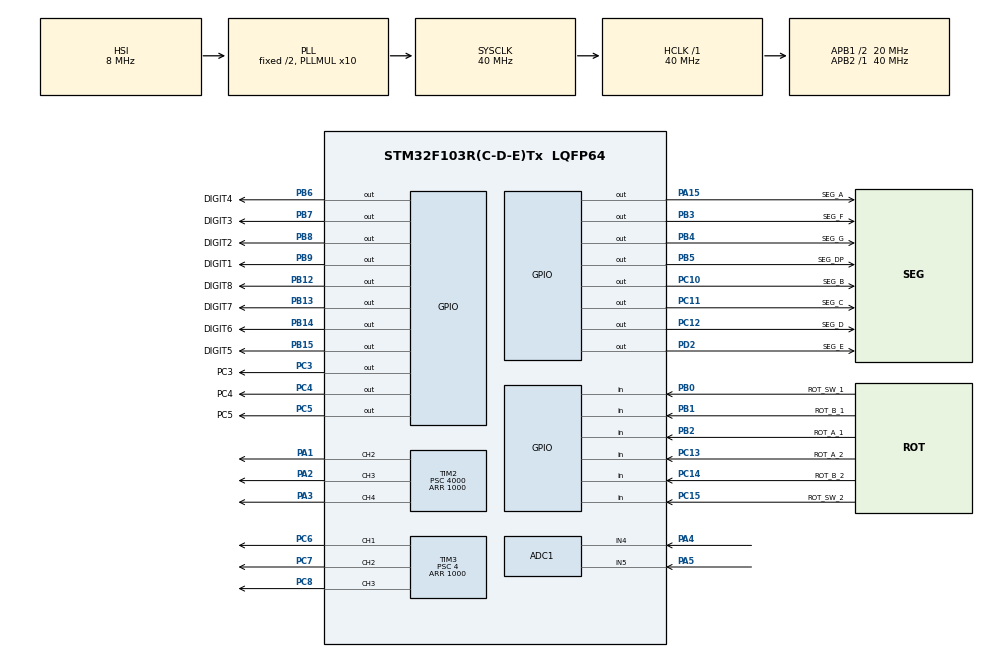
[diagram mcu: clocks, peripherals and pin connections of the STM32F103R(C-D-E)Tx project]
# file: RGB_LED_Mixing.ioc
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ADC1.Channel-0\#ChannelRegularConversion=ADC_CHANNEL_4
ADC1.NbrOfConversionFlag=1
ADC1.Rank-0\#ChannelRegularConversion=1
ADC1.SamplingTime-0\#ChannelRegularConversion=ADC_SAMPLETIME_1CYCLE_5
ADC1.master=1
Mcu.Family=STM32F1
Mcu.Name=STM32F103R(C-D-E)Tx
Mcu.Package=LQFP64
NVIC.PriorityGroup=NVIC_PRIORITYGROUP_4
PA1.Signal=S_TIM2_CH2
PA15.GPIO_Label=SEG_A
PA15.PinState=GPIO_PIN_SET
PA15.Signal=GPIO_Output
PA2.Signal=S_TIM2_CH3
PA3.Signal=S_TIM2_CH4
PA4.Signal=ADCx_IN4
PA5.Signal=ADCx_IN5
PB0.GPIO_Label=ROT_SW_1
PB0.GPIO_PuPd=GPIO_PULLUP
PB0.Signal=GPIO_Input
PB1.GPIO_Label=ROT_B_1
PB1.GPIO_PuPd=GPIO_PULLUP
PB1.Signal=GPIO_Input
PB12.GPIO_Label=DIGIT8
PB12.GPIO_PuPd=GPIO_PULLDOWN
PB12.PinState=GPIO_PIN_SET
PB12.Signal=GPIO_Output
PB13.GPIO_Label=DIGIT7
PB13.GPIO_PuPd=GPIO_PULLDOWN
PB13.PinState=GPIO_PIN_SET
PB13.Signal=GPIO_Output
PB14.GPIO_Label=DIGIT6
PB14.GPIO_PuPd=GPIO_PULLDOWN
PB14.PinState=GPIO_PIN_SET
PB14.Signal=GPIO_Output
PB15.GPIO_Label=DIGIT5
PB15.GPIO_PuPd=GPIO_PULLDOWN
PB15.PinState=GPIO_PIN_SET
PB15.Signal=GPIO_Output
PB2.GPIO_Label=ROT_A_1
PB2.GPIO_PuPd=GPIO_PULLUP
PB2.Signal=GPIO_Input
PB3.GPIO_Label=SEG_F
PB3.PinState=GPIO_PIN_SET
PB3.Signal=GPIO_Output
PB4.GPIO_Label=SEG_G
PB4.PinState=GPIO_PIN_SET
PB4.Signal=GPIO_Output
PB5.GPIO_Label=SEG_DP
PB5.PinState=GPIO_PIN_SET
PB5.Signal=GPIO_Output
PB6.GPIO_Label=DIGIT4
PB6.GPIO_PuPd=GPIO_PULLDOWN
PB6.PinState=GPIO_PIN_SET
PB6.Signal=GPIO_Output
PB7.GPIO_Label=DIGIT3
PB7.GPIO_PuPd=GPIO_PULLDOWN
PB7.PinState=GPIO_PIN_SET
PB7.Signal=GPIO_Output
PB8.GPIO_Label=DIGIT2
PB8.GPIO_PuPd=GPIO_PULLDOWN
PB8.PinState=GPIO_PIN_SET
PB8.Signal=GPIO_Output
PB9.GPIO_Label=DIGIT1
PB9.GPIO_PuPd=GPIO_PULLDOWN
PB9.PinState=GPIO_PIN_SET
PB9.Signal=GPIO_Output
PC10.GPIO_Label=SEG_B
PC10.GPIO_PuPd=GPIO_NOPULL
PC10.PinState=GPIO_PIN_SET
PC10.Signal=GPIO_Output
PC11.GPIO_Label=SEG_C
PC11.PinState=GPIO_PIN_SET
PC11.Signal=GPIO_Output
PC12.GPIO_Label=SEG_D
PC12.PinState=GPIO_PIN_SET
PC12.Signal=GPIO_Output
PC13-TAMPER-RTC.GPIO_Label=ROT_A_2
PC13-TAMPER-RTC.GPIO_PuPd=GPIO_PULLUP
PC13-TAMPER-RTC.Signal=GPIO_Input
PC14-OSC32_IN.GPIO_Label=ROT_B_2
PC14-OSC32_IN.GPIO_PuPd=GPIO_PULLUP
PC14-OSC32_IN.Signal=GPIO_Input
PC15-OSC32_OUT.GPIO_Label=ROT_SW_2
PC15-OSC32_OUT.GPIO_PuPd=GPIO_PULLUP
PC15-OSC32_OUT.Signal=GPIO_Input
PC3.GPIO_Label=PC3
PC3.PinState=GPIO_PIN_SET
PC3.Signal=GPIO_Output
PC4.GPIO_Label=PC4
PC4.PinState=GPIO_PIN_SET
PC4.Signal=GPIO_Output
PC5.GPIO_Label=PC5
PC5.PinState=GPIO_PIN_SET
PC5.Signal=GPIO_Output
PC6.Signal=S_TIM3_CH1
PC7.Signal=S_TIM3_CH2
PC8.Signal=S_TIM3_CH3
PD0-OSC_IN.Mode=HSE-External-Oscillator
PD0-OSC_IN.Signal=RCC_OSC_IN
PD1-OSC_OUT.Mode=HSE-External-Oscillator
PD1-OSC_OUT.Signal=RCC_OSC_OUT
PD2.GPIO_Label=SEG_E
PD2.PinState=GPIO_PIN_SET
PD2.Signal=GPIO_Output
ProjectManager.HeapSize=0x200
ProjectManager.StackSize=0x400
ProjectManager.TargetToolchain=STM32CubeIDE
RCC.ADCPresc=RCC_ADCPCLK2_DIV4
RCC.AHBFreq_Value=40000000
RCC.APB1CLKDivider=RCC_HCLK_DIV2
RCC.APB1Freq_Value=20000000
RCC.APB1TimFreq_Value=40000000
RCC.APB2Freq_Value=40000000
RCC.APB2TimFreq_Value=40000000
RCC.HCLKFreq_Value=40000000
RCC.HSE_VALUE=4000000
RCC.PLLMUL=RCC_PLL_MUL10
RCC.SYSCLKFreq_VALUE=40000000
RCC.SYSCLKSource=RCC_SYSCLKSOURCE_PLLCLK
RCC.USBFreq_Value=40000000
SH.ADCx_IN4.0=ADC1_IN4,IN4
SH.ADCx_IN5.0=ADC1_IN5,IN5
SH.S_TIM2_CH2.0=TIM2_CH2,PWM Generation2 CH2
SH.S_TIM2_CH3.0=TIM2_CH3,PWM Generation3 CH3
SH.S_TIM2_CH4.0=TIM2_CH4,PWM Generation4 CH4
SH.S_TIM3_CH1.0=TIM3_CH1,PWM Generation1 CH1
SH.S_TIM3_CH2.0=TIM3_CH2,PWM Generation2 CH2
SH.S_TIM3_CH3.0=TIM3_CH3,PWM Generation3 CH3
TIM2.Channel-PWM\ Generation2\ CH2=TIM_CHANNEL_2
TIM2.Channel-PWM\ Generation3\ CH3=TIM_CHANNEL_3
TIM2.Channel-PWM\ Generation4\ CH4=TIM_CHANNEL_4
TIM2.OCFastMode_PWM-PWM\ Generation3\ CH3=TIM_OCFAST_DISABLE
TIM2.OCFastMode_PWM-PWM\ Generation4\ CH4=TIM_OCFAST_DISABLE
TIM2.OCMode_PWM-PWM\ Generation2\ CH2=TIM_OCMODE_PWM1
TIM2.OCPolarity_2=TIM_OCPOLARITY_HIGH
TIM2.OCPolarity_3=TIM_OCPOLARITY_HIGH
TIM2.Period=1000
TIM2.Prescaler=4000
TIM2.Pulse-PWM\ Generation2\ CH2=20
TIM2.Pulse-PWM\ Generation3\ CH3=0
TIM2.Pulse-PWM\ Generation4\ CH4=0
TIM3.Channel-PWM\ Generation1\ CH1=TIM_CHANNEL_1
TIM3.Channel-PWM\ Generation2\ CH2=TIM_CHANNEL_2
TIM3.Channel-PWM\ Generation3\ CH3=TIM_CHANNEL_3
TIM3.OCMode_PWM-PWM\ Generation1\ CH1=TIM_OCMODE_PWM1
TIM3.OCMode_PWM-PWM\ Generation3\ CH3=TIM_OCMODE_PWM1
TIM3.OCPolarity_2=TIM_OCPOLARITY_HIGH
TIM3.Period=1000
TIM3.Prescaler=4
TIM3.Pulse-PWM\ Generation1\ CH1=20
TIM3.Pulse-PWM\ Generation2\ CH2=20
TIM3.Pulse-PWM\ Generation3\ CH3=20
TIM3.TIM_MasterSlaveMode=TIM_MASTERSLAVEMODE_DISABLE
VP_SYS_VS_ND.Mode=No_Debug
VP_TIM2_VS_ClockSourceINT.Mode=Internal
VP_TIM3_VS_ClockSourceINT.Mode=Internal
board=custom

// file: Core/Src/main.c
/* USER CODE BEGIN Header */
/**
 ******************************************************************************
 * @file           : main.c
 * @brief          : Main program body
 ******************************************************************************
 * @attention
 *
 * <h2><center>&copy; Copyright (c) 2021 STMicroelectronics.
 * All rights reserved.</center></h2>
 *
 * This software component is licensed by ST under BSD 3-Clause license,
 * the "License"; You may not use this file except in compliance with the
 * License. You may obtain a copy of the License at:
 *                        opensource.org/licenses/BSD-3-Clause
 *
 ******************************************************************************
 */

// This Function Provides Delay In Milliseconds Using DWT

/* USER CODE END Header */
#include "main.h"

/* USER CODE BEGIN PTD */
enum{tachefond,blue,green,red,freq};

enum{blanc,bleu,vert,rouge,violet, jaune, cyan,};

/* USER CODE END PTD */

/* USER CODE BEGIN PD */
#define GAUCHE 0
#define DROITE 1
/* USER CODE END PD */

ADC_HandleTypeDef hadc1;

TIM_HandleTypeDef htim2;
TIM_HandleTypeDef htim3;

void SystemClock_Config(void);
static void MX_GPIO_Init(void);
static void MX_ADC1_Init(void);
static void MX_TIM2_Init(void);
static void MX_TIM3_Init(void);

/* USER CODE BEGIN 0 */
/*
 *  Project     Segmented LED Display - ASCII Library
 *  @author     David Madison
 *  @link       github.com/dmadison/Segmented-LED-Display-ASCII
 *  @license    MIT - Copyright (c) 2017 David Madison
 *
 * Permission is hereby granted, free of charge, to any person obtaining a copy
 * of this software and associated documentation files (the "Software"), to deal
 * in the Software without restriction, including without limitation the rights
 * to use, copy, modify, merge, publish, distribute, sublicense, and/or sell
 * copies of the Software, and to permit persons to whom the Software is
 * furnished to do so, subject to the following conditions:
 *
 * The above copyright notice and this permission notice shall be included in
 * all copies or substantial portions of the Software.
 *
 * THE SOFTWARE IS PROVIDED "AS IS", WITHOUT WARRANTY OF ANY KIND, EXPRESS OR
 * IMPLIED, INCLUDING BUT NOT LIMITED TO THE WARRANTIES OF MERCHANTABILITY,
 * FITNESS FOR A PARTICULAR PURPOSE AND NONINFRINGEMENT. IN NO EVENT SHALL THE
 * AUTHORS OR COPYRIGHT HOLDERS BE LIABLE FOR ANY CLAIM, DAMAGES OR OTHER
 * LIABILITY, WHETHER IN AN ACTION OF CONTRACT, TORT OR OTHERWISE, ARISING FROM,
 * OUT OF OR IN CONNECTION WITH THE SOFTWARE OR THE USE OR OTHER DEALINGS IN
 * THE SOFTWARE.
 *
 */

const uint8_t SevenSegmentASCII[96] = {
		0x00, /* (space) */
		0x86, /* ! */
		0x22, /* " */
		0x7E, /* # */
		0x6D, /* $ */
		0xD2, /* % */
		0x46, /* & */
		0x20, /* ' */
		0x29, /* ( */
		0x0B, /* ) */
		0x21, /* * */
		0x70, /* + */
		0x10, /* , */
		0x40, /* - */
		0x80, /* . */
		0x52, /* / */
		0x3F, /* 0 */
		0x06, /* 1 */
		0x5B, /* 2 */
		0x4F, /* 3 */
		0x66, /* 4 */
		0x6D, /* 5 */
		0x7D, /* 6 */
		0x07, /* 7 */
		0x7F, /* 8 */
		0x6F, /* 9 */
		0x09, /* : */
		0x0D, /* ; */
		0x61, /* < */
		0x48, /* = */
		0x43, /* > */
		0xD3, /* ? */
		0x5F, /* @ */
		0x77, /* A */
		0x7C, /* B */
		0x39, /* C */
		0x5E, /* D */
		0x79, /* E */
		0x71, /* F */
		0x3D, /* G */
		0x76, /* H */
		0x30, /* I */
		0x1E, /* J */
		0x75, /* K */
		0x38, /* L */
		0x15, /* M */
		0x37, /* N */
		0x3F, /* O */
		0x73, /* P */
		0x6B, /* Q */
		0x33, /* R */
		0x6D, /* S */
		0x78, /* T */
		0x3E, /* U */
		0x3E, /* V */
		0x2A, /* W */
		0x76, /* X */
		0x6E, /* Y */
		0x5B, /* Z */
		0x39, /* [ */
		0x64, /* \ */
		0x0F, /* ] */
		0x23, /* ^ */
		0x08, /* _ */
		0x02, /* ` */
		0x5F, /* a */
		0x7C, /* b */
		0x58, /* c */
		0x5E, /* d */
		0x7B, /* e */
		0x71, /* f */
		0x6F, /* g */
		0x74, /* h */
		0x10, /* i */
		0x0C, /* j */
		0x75, /* k */
		0x30, /* l */
		0x14, /* m */
		0x54, /* n */
		0x5C, /* o */
		0x73, /* p */
		0x67, /* q */
		0x50, /* r */
		0x6D, /* s */
		0x78, /* t */
		0x1C, /* u */
		0x1C, /* v */
		0x14, /* w */
		0x76, /* x */
		0x6E, /* y */
		0x5B, /* z */
		0x46, /* { */
		0x30, /* | */
		0x70, /* } */
		0x01, /* ~ */
		0x00, /* (del) */
};

void all_on_SEG(void)
{
	HAL_GPIO_WritePin(SEG_A_GPIO_Port, SEG_A_Pin, GPIO_PIN_SET);
	HAL_GPIO_WritePin(SEG_B_GPIO_Port, SEG_B_Pin, GPIO_PIN_SET);
	HAL_GPIO_WritePin(SEG_C_GPIO_Port, SEG_C_Pin, GPIO_PIN_SET);
	HAL_GPIO_WritePin(SEG_D_GPIO_Port, SEG_D_Pin, GPIO_PIN_SET);
	HAL_GPIO_WritePin(SEG_E_GPIO_Port, SEG_E_Pin, GPIO_PIN_SET);
	HAL_GPIO_WritePin(SEG_F_GPIO_Port, SEG_F_Pin, GPIO_PIN_SET);
	HAL_GPIO_WritePin(SEG_G_GPIO_Port, SEG_G_Pin, GPIO_PIN_SET);
	HAL_GPIO_WritePin(SEG_DP_GPIO_Port, SEG_DP_Pin, GPIO_PIN_SET);

	HAL_GPIO_WritePin(DIGIT1_GPIO_Port, DIGIT1_Pin, GPIO_PIN_SET);
	HAL_GPIO_WritePin(DIGIT2_GPIO_Port, DIGIT2_Pin, GPIO_PIN_SET);
	HAL_GPIO_WritePin(DIGIT3_GPIO_Port, DIGIT3_Pin, GPIO_PIN_SET);
	HAL_GPIO_WritePin(DIGIT4_GPIO_Port, DIGIT4_Pin, GPIO_PIN_SET);
	HAL_GPIO_WritePin(DIGIT5_GPIO_Port, DIGIT5_Pin, GPIO_PIN_SET);
	HAL_GPIO_WritePin(DIGIT6_GPIO_Port, DIGIT6_Pin, GPIO_PIN_SET);
	HAL_GPIO_WritePin(DIGIT7_GPIO_Port, DIGIT7_Pin, GPIO_PIN_SET);
	HAL_GPIO_WritePin(DIGIT8_GPIO_Port, DIGIT8_Pin, GPIO_PIN_SET);
}

void delay(int i)
{
	for(int j=0;j<i;i++)
	{

	}
}

void initSEG(void)
{
	uint16_t pinportA = SEG_A_Pin;
	uint16_t pinportC = SEG_B_Pin|SEG_C_Pin|SEG_D_Pin;
	uint16_t pinportB = SEG_F_Pin|SEG_G_Pin|SEG_DP_Pin|DIGIT1_Pin|DIGIT2_Pin|DIGIT3_Pin|DIGIT4_Pin|DIGIT5_Pin|DIGIT6_Pin|DIGIT7_Pin|DIGIT8_Pin;
	uint16_t pinportD = SEG_E_Pin;

	HAL_GPIO_WritePin(SEG_A_GPIO_Port, pinportA, GPIO_PIN_RESET);

	HAL_GPIO_WritePin(SEG_B_GPIO_Port,pinportC , GPIO_PIN_RESET);

	HAL_GPIO_WritePin(SEG_E_GPIO_Port, pinportD, GPIO_PIN_RESET);

	HAL_GPIO_WritePin(SEG_F_GPIO_Port,pinportB , GPIO_PIN_RESET);

}

void uprintchar(int shiftseg1,int shiftseg2,int shiftseg3,int shiftseg4,int shiftseg5,int shiftseg6,int shiftseg7,int shiftseg8,uint16_t Pin)
{

	uint16_t pinsegBCD=(SEG_B_Pin&(shiftseg2<<9))|(SEG_C_Pin&shiftseg3<<9)|(SEG_D_Pin&shiftseg4<<9);
	uint16_t pinsegFGDPdig=(SEG_F_Pin&(shiftseg6>>2))|(SEG_G_Pin&shiftseg7>>2)|(SEG_DP_Pin&shiftseg8>>2)|Pin;
	uint16_t pinsegA=(SEG_A_Pin&(shiftseg1<<15));
	uint16_t pinsegE=(SEG_E_Pin&(shiftseg5>>2));
	initSEG();
	GPIOC->ODR = pinsegBCD;
	GPIOA->ODR = pinsegA;
	GPIOD->ODR = pinsegE;
	GPIOB->ODR = pinsegFGDPdig;
}

void printchar(int chara,uint16_t Pin)
{
	int segmA =(0x01&(SevenSegmentASCII[chara-32]));
	int segmB =(0x02&(SevenSegmentASCII[chara-32]))>>1;
	int segmC =(0x04&(SevenSegmentASCII[chara-32]))>>2;
	int segmD =(0x08&(SevenSegmentASCII[chara-32]))>>3;
	int segmE =(0x10&(SevenSegmentASCII[chara-32]))>>4;
	int segmF =(0x20&(SevenSegmentASCII[chara-32]))>>5;
	int segmG =(0x40&(SevenSegmentASCII[chara-32]))>>6;
	int segmDP =(0x80&(SevenSegmentASCII[chara-32]))>>7;
	/*uint16_t pinsegBCD=((SEG_B_Pin&(segmB<<9))|(SEG_C_Pin&segmC<<9)|(SEG_D_Pin&segmD<<9))&0xFFFF;
	uint16_t pinsegFGDPdig=((SEG_F_Pin&(segmF>>2))|(SEG_G_Pin&segmG>>2)|(SEG_DP_Pin&segmDP>>2)|Pin)&0xFFFF;
	uint16_t pinsegA=(SEG_A_Pin&(segmA<<15))&0xFFFF;
	uint16_t pinsegE=(SEG_E_Pin&(segmE>>2))&0xFFFF;
	initSEG();
	GPIOC->ODR = GPIOC->ODR&pinsegBCD;
	GPIOA->ODR = GPIOA->ODR&pinsegA;
	GPIOD->ODR = GPIOD->ODR&pinsegE;
	GPIOB->ODR = GPIOB->ODR&pinsegFGDPdig;
	 */
	initSEG();
	HAL_GPIO_WritePin(SEG_A_GPIO_Port, SEG_A_Pin, segmA);
	HAL_GPIO_WritePin(SEG_B_GPIO_Port, SEG_B_Pin, segmB);
	HAL_GPIO_WritePin(SEG_C_GPIO_Port, SEG_C_Pin, segmC);
	HAL_GPIO_WritePin(SEG_D_GPIO_Port, SEG_D_Pin, segmD);
	HAL_GPIO_WritePin(SEG_E_GPIO_Port, SEG_E_Pin, segmE);
	HAL_GPIO_WritePin(SEG_F_GPIO_Port, SEG_F_Pin, segmF);
	HAL_GPIO_WritePin(SEG_G_GPIO_Port, SEG_G_Pin, segmG);
	HAL_GPIO_WritePin(SEG_DP_GPIO_Port, SEG_DP_Pin, segmDP);
	HAL_GPIO_WritePin(DIGIT1_GPIO_Port, Pin, GPIO_PIN_SET);
}

void printFigures(int number,uint16_t Pin, int leading_zero)
{
	printchar(number+48,Pin);

	if(!leading_zero)
	{
		if(number==0)
		{
			HAL_GPIO_WritePin(GPIOB, Pin, GPIO_PIN_RESET);
		}
	}
}

void affichageDig(int position_compteur,int delai,int position, int limpos,int limneg)
{
	static int check=0;
	static int i;
	int digit[4];
	int pos=position*6;
	if (check!=position)
			i--;
	switch (i){

	case 0:
	{
		if(position_compteur==limpos+1)
			position_compteur=0;

		if(position_compteur<0)
		{
			printchar('-', DIGIT1_Pin);
			if(position_compteur==-(limneg+1))
				position_compteur=0;
		}
		digit[0]=abs(position_compteur)%10;
		digit[1]=((abs(position_compteur)-digit[0])/10)%10;
		digit[2]=((abs(position_compteur)-digit[1]*10-digit[0])/100)%10;
		digit[3]=((abs(position_compteur)-digit[2]*100-digit[0]-digit[1]*10)/1000)%10;
		printFigures(digit[0], DIGIT4_Pin<<pos,1);
		HAL_Delay(delai);
		break;
	}
	case 1:
	{
		if(position_compteur==limpos+1)
			position_compteur=0;

		if(position_compteur<0)
		{
			printchar('-', DIGIT1_Pin);
			if(position_compteur==-(limneg+1))
				position_compteur=0;
		}
		digit[0]=abs(position_compteur)%10;
		digit[1]=((abs(position_compteur)-digit[0])/10)%10;
		digit[2]=((abs(position_compteur)-digit[1]*10-digit[0])/100)%10;
		digit[3]=((abs(position_compteur)-digit[2]*100-digit[0]-digit[1]*10)/1000)%10;
		printFigures(digit[1], DIGIT3_Pin<<pos,1);
		HAL_Delay(delai);
		break;
	}
	case 2:
	{
		if(position_compteur==limpos+1)
			position_compteur=0;

		if(position_compteur<0)
		{
			printchar('-', DIGIT1_Pin);
			if(position_compteur==-(limneg+1))
				position_compteur=0;
		}
		digit[0]=abs(position_compteur)%10;
		digit[1]=((abs(position_compteur)-digit[0])/10)%10;
		digit[2]=((abs(position_compteur)-digit[1]*10-digit[0])/100)%10;
		digit[3]=((abs(position_compteur)-digit[2]*100-digit[0]-digit[1]*10)/1000)%10;
		printFigures(digit[2], DIGIT2_Pin<<pos, 1);
		HAL_Delay(delai);
		break;
	}
	case 3:
	{
		if(position_compteur==limpos+1)
			position_compteur=0;

		if(position_compteur<0)
		{
			printchar('-', DIGIT1_Pin);
			if(position_compteur==-(limneg+1))
				position_compteur=0;
		}
		else
		{
			digit[0]=abs(position_compteur)%10;
			digit[1]=((abs(position_compteur)-digit[0])/10)%10;
			digit[2]=((abs(position_compteur)-digit[1]*10-digit[0])/100)%10;
			digit[3]=((abs(position_compteur)-digit[2]*100-digit[0]-digit[1]*10)/1000)%10;
			printFigures(digit[3], DIGIT1_Pin<<pos, 1);
		}
		i=-1;
		if (check==position)
				i=3;
		HAL_Delay(delai);
		break;
	}
	}
	i++;
}
void affichageChar(char * word,int delai, int position)
{
	static int i=0;
	int pos=position*6;
	switch (i){

	case 0:
	{
		printchar(word[i],DIGIT1_Pin<<pos);
		HAL_Delay(delai);
	}
	break;
	case 1:
	{
		printchar(word[i],DIGIT2_Pin<<pos);
		HAL_Delay(delai);
	}
	break;
	case 2:
	{
		printchar(word[i],DIGIT3_Pin<<pos);
		HAL_Delay(delai);
	}
	break;
	case 3:
	{
		printchar(word[i],DIGIT4_Pin<<pos);
		HAL_Delay(delai);
		i=-1;
	}
	break;
	}
	i++;
}
/*
void incremental(int switchport1, int switchport2,int switchpin1,int switchpin2,int parameter, int limneg,int limpositive)
{
	static int lastState1=0;
	lastState1=HAL_GPIO_ReadPin(switchport1, switchpin1);
	static int etatsw=0;
	HAL_Delay(1);
	if(HAL_GPIO_ReadPin(switchport1, switchpin1)!=lastState1)
	{
		if(HAL_GPIO_ReadPin(switchport1, switchpin1)!=HAL_GPIO_ReadPin(switchport2, switchpin2))
		{
			etatsw=2;
			while(etatsw==2)
			{
				lastState1=HAL_GPIO_ReadPin(switchport1, switchpin1);
				HAL_Delay(1);
				if (parameter<=limneg)
					parameter=limneg;
				else
				{
					parameter--;
				}
				if(HAL_GPIO_ReadPin(switchport1, switchpin1)==lastState1)
					etatsw=0;
				if(HAL_GPIO_ReadPin(switchport1, switchpin1)==HAL_GPIO_ReadPin(switchport2, switchpin2))
					etatsw=1;
			}
		}
		else
		{
			etatsw=1;
			while(etatsw==1)
			{
				lastState1=HAL_GPIO_ReadPin(switchport1, switchpin1);
				HAL_Delay(1);
				if (parameter>=limpositive)
					parameter=limpositive;
				else
				{
					parameter++;
				}
				if(HAL_GPIO_ReadPin(switchport1, switchpin1)==lastState1)
					etatsw=0;
				if(HAL_GPIO_ReadPin(switchport1, switchpin1)!=HAL_GPIO_ReadPin(switchport2, switchpin2))
					etatsw=2;
			}
		}
	}
}*/

/* USER CODE END 0 */

int main(void)
{

  /* MCU Configuration--------------------------------------------------------*/

  /* Reset of all peripherals, Initializes the Flash interface and the Systick. */
  HAL_Init();

  /* Configure the system clock */
  SystemClock_Config();

  /* Initialize all configured peripherals */
  MX_GPIO_Init();
  MX_ADC1_Init();
  MX_TIM2_Init();
  MX_TIM3_Init();
  /* USER CODE BEGIN 2 */

  	HAL_TIM_PWM_Start(&htim2, TIM_CHANNEL_2);HAL_TIM_PWM_Start(&htim2, TIM_CHANNEL_3);HAL_TIM_PWM_Start(&htim2, TIM_CHANNEL_4);
	HAL_TIM_PWM_Start(&htim3, TIM_CHANNEL_1);HAL_TIM_PWM_Start(&htim3, TIM_CHANNEL_2);HAL_TIM_PWM_Start(&htim3, TIM_CHANNEL_3);

	int delai=1;
	int SW1; int SW2;
	int lastState=HAL_GPIO_ReadPin(ROT_A_2_GPIO_Port, ROT_A_2_Pin);
	int lastState1=HAL_GPIO_ReadPin(ROT_A_1_GPIO_Port, ROT_A_1_Pin);

	int duty_cycler=5;int duty_cycleg=5;int duty_cycleb=5;

	int frequency=1;
	int32_t autoreload = 40000000/ (((TIM2->PSC))*(frequency));
	int32_t compare=(duty_cycleb*autoreload)/100;
	__HAL_TIM_SET_COMPARE(&htim2, TIM_CHANNEL_2, compare);

	int pulser=1000;int pulseg=1000;int pulseb=1000;
	static int i=0;
	char word[9]="BICHONS.";
	static int etat=freq;
	int etatsw=0; //1=-- 2=++
	int etatsw2=0;
	static int couleur=blanc;

	initSEG();

  /* USER CODE END 2 */

  /* Infinite loop */
	while (1)
	{

    /* USER CODE BEGIN 3 */
		//HAL_GPIO_WritePin(PC3_GPIO_Port,PC3_Pin , GPIO_PIN_SET);
		SW1= HAL_GPIO_ReadPin(ROT_SW_1_GPIO_Port, ROT_SW_1_Pin);
		SW2= HAL_GPIO_ReadPin(ROT_SW_2_GPIO_Port, ROT_SW_2_Pin);

		switch(etat)
		{
		case tachefond:

			switch (i){
			case 0:
				printchar(word[i],DIGIT1_Pin);
				HAL_Delay(delai);
			break;
			case 1:
				printchar(word[i],DIGIT2_Pin);
				HAL_Delay(delai);
			break;
			case 2:
				printchar(word[i],DIGIT3_Pin);
				HAL_Delay(delai);
			break;
			case 3:
				printchar(word[i],DIGIT4_Pin);
				HAL_Delay(delai);
			break;
			case 4:
				printchar(word[i],DIGIT5_Pin);
				HAL_Delay(delai);
			break;
			case 5:
				printchar(word[i],DIGIT6_Pin);
				HAL_Delay(delai);
			break;
			case 6:
				printchar(word[i],DIGIT7_Pin);
				HAL_Delay(delai);
			break;
			case 7:
				printchar(word[i],DIGIT8_Pin);
				i=-1;
				HAL_Delay(delai);
			break;
			}
			i++;

			switch(couleur)
			{
				case blanc:
					__HAL_TIM_SET_COMPARE(&htim3, TIM_CHANNEL_3, pulser/10);
					__HAL_TIM_SET_COMPARE(&htim3, TIM_CHANNEL_2, pulseg/10);
					__HAL_TIM_SET_COMPARE(&htim3, TIM_CHANNEL_1, pulseb/10);
					pulseg--;
					if(pulseg==0)
						couleur=violet;
					break;
				case violet:
					__HAL_TIM_SET_COMPARE(&htim3, TIM_CHANNEL_3, pulser/10);
					__HAL_TIM_SET_COMPARE(&htim3, TIM_CHANNEL_2, pulseg/10);
					__HAL_TIM_SET_COMPARE(&htim3, TIM_CHANNEL_1, pulseb/10);
					pulser--;
					if(pulser==0)
						couleur=bleu;
					break;
				case bleu:
					__HAL_TIM_SET_COMPARE(&htim3, TIM_CHANNEL_3, pulser/10);
					__HAL_TIM_SET_COMPARE(&htim3, TIM_CHANNEL_2, pulseg/10);
					__HAL_TIM_SET_COMPARE(&htim3, TIM_CHANNEL_1, pulseb/10);
					pulseg++;
					if(pulseg==1000)
						couleur=cyan;
					break;
				case cyan:
					__HAL_TIM_SET_COMPARE(&htim3, TIM_CHANNEL_3, pulser/10);
					__HAL_TIM_SET_COMPARE(&htim3, TIM_CHANNEL_2, pulseg/10);
					__HAL_TIM_SET_COMPARE(&htim3, TIM_CHANNEL_1, pulseb/10);
					pulseb--;
					if(pulseb==0)
						couleur=vert;
					break;
				case vert:
					__HAL_TIM_SET_COMPARE(&htim3, TIM_CHANNEL_3, pulser/10);
					__HAL_TIM_SET_COMPARE(&htim3, TIM_CHANNEL_2, pulseg/10);
					__HAL_TIM_SET_COMPARE(&htim3, TIM_CHANNEL_1, pulseb/10);
					pulser++;
					if(pulser==1000)
						couleur=jaune;
					break;
				case jaune:
					__HAL_TIM_SET_COMPARE(&htim3, TIM_CHANNEL_3, pulser/10);
					__HAL_TIM_SET_COMPARE(&htim3, TIM_CHANNEL_2, pulseg/10);
					__HAL_TIM_SET_COMPARE(&htim3, TIM_CHANNEL_1, pulseb/10);
					pulseg--;
					if(pulseg==0)
						couleur=rouge;
					break;
				case rouge:
					__HAL_TIM_SET_COMPARE(&htim3, TIM_CHANNEL_3, pulser/10);
					__HAL_TIM_SET_COMPARE(&htim3, TIM_CHANNEL_2, pulseg/10);
					__HAL_TIM_SET_COMPARE(&htim3, TIM_CHANNEL_1, pulseb/10);
					pulseg++;
					pulseb++;
					if(pulseg==1000)
						couleur=blanc;
					break;
			}

			if(SW2==0)

			{
				initSEG();
				HAL_Delay(200);
				etat=green;
			}
			break;
			case green:
				lastState1=HAL_GPIO_ReadPin(ROT_A_1_GPIO_Port, ROT_A_1_Pin);

				affichageChar("GREE", delai,GAUCHE);
				affichageDig(duty_cycleg, delai,DROITE,100,0);
				if(HAL_GPIO_ReadPin(ROT_A_1_GPIO_Port, ROT_A_1_Pin)!=lastState1)
				{
					if(HAL_GPIO_ReadPin(ROT_A_1_GPIO_Port, ROT_A_1_Pin)!=HAL_GPIO_ReadPin(ROT_B_1_GPIO_Port, ROT_B_1_Pin))
					{
						etatsw=2;
						while(etatsw==2)
						{
							lastState1=HAL_GPIO_ReadPin(ROT_A_1_GPIO_Port, ROT_A_1_Pin);
							HAL_Delay(1);
							if (duty_cycleg<=0)
								duty_cycleg=0;
							else
							{
								duty_cycleg--;
							}
							__HAL_TIM_SET_COMPARE(&htim3, TIM_CHANNEL_2, duty_cycleg*10);

							if(HAL_GPIO_ReadPin(ROT_A_1_GPIO_Port, ROT_A_1_Pin)==lastState1)
								etatsw=0;
							if(HAL_GPIO_ReadPin(ROT_A_1_GPIO_Port, ROT_A_1_Pin)==HAL_GPIO_ReadPin(ROT_B_1_GPIO_Port, ROT_B_1_Pin))
								etatsw=1;
						}
					}
					else
					{
						etatsw=1;
						while(etatsw==1)
						{
							lastState1=HAL_GPIO_ReadPin(ROT_A_1_GPIO_Port, ROT_A_1_Pin);
							HAL_Delay(1);
							if (duty_cycleg>=100)
								duty_cycleg=100;
							else
							{
								duty_cycleg++;
							}
							__HAL_TIM_SET_COMPARE(&htim3, TIM_CHANNEL_2, duty_cycleg*10);

							if(HAL_GPIO_ReadPin(ROT_A_1_GPIO_Port, ROT_A_1_Pin)==lastState1)
								etatsw=0;
							if(HAL_GPIO_ReadPin(ROT_A_1_GPIO_Port, ROT_A_1_Pin)!=HAL_GPIO_ReadPin(ROT_B_1_GPIO_Port, ROT_B_1_Pin))
								etatsw=2;
						}
					}
				}
				if(SW1==0)
				{
					duty_cycleg=0;
					__HAL_TIM_SET_COMPARE(&htim3, TIM_CHANNEL_2, duty_cycleg*10);
				}
				if(SW2==0)
				{
					initSEG();
					HAL_Delay(200);
					etat=red;
				}
				break;

			case red:
				lastState1=HAL_GPIO_ReadPin(ROT_A_1_GPIO_Port, ROT_A_1_Pin);
				affichageChar(" RED", delai,GAUCHE);
				affichageDig(duty_cycler, delai,DROITE,100,0);
				if(HAL_GPIO_ReadPin(ROT_A_1_GPIO_Port, ROT_A_1_Pin)!=lastState1)
				{
					if(HAL_GPIO_ReadPin(ROT_A_1_GPIO_Port, ROT_A_1_Pin)!=HAL_GPIO_ReadPin(ROT_B_1_GPIO_Port, ROT_B_1_Pin))
					{
						etatsw=2;
						while(etatsw==2)
						{
							lastState1=HAL_GPIO_ReadPin(ROT_A_1_GPIO_Port, ROT_A_1_Pin);
							HAL_Delay(1);
							if (duty_cycler<=0)
								duty_cycler=0;
							else
							{
								duty_cycler--;
							}
							__HAL_TIM_SET_COMPARE(&htim3, TIM_CHANNEL_3, duty_cycler*10);

							if(HAL_GPIO_ReadPin(ROT_A_1_GPIO_Port, ROT_A_1_Pin)==lastState1)
								etatsw=0;
							if(HAL_GPIO_ReadPin(ROT_A_1_GPIO_Port, ROT_A_1_Pin)==HAL_GPIO_ReadPin(ROT_B_1_GPIO_Port, ROT_B_1_Pin))
								etatsw=1;
						}
					}
					else
					{
						etatsw=1;
						while(etatsw==1)
						{
							lastState1=HAL_GPIO_ReadPin(ROT_A_1_GPIO_Port, ROT_A_1_Pin);
							HAL_Delay(1);
							if (duty_cycler>=100)
								duty_cycler=100;
							else
							{
								duty_cycler++;
							}
							__HAL_TIM_SET_COMPARE(&htim3, TIM_CHANNEL_3, duty_cycler*10);

							if(HAL_GPIO_ReadPin(ROT_A_1_GPIO_Port, ROT_A_1_Pin)==lastState1)
								etatsw=0;
							if(HAL_GPIO_ReadPin(ROT_A_1_GPIO_Port, ROT_A_1_Pin)!=HAL_GPIO_ReadPin(ROT_B_1_GPIO_Port, ROT_B_1_Pin))
								etatsw=2;
						}
					}
				}
				if(SW1==0)
				{
					duty_cycler=0;
					__HAL_TIM_SET_COMPARE(&htim3, TIM_CHANNEL_3, duty_cycler*10);
				}
				if(SW2==0)
				{
					initSEG();
					HAL_Delay(200);
					etat=blue;
				}
				break;

			case blue:
				lastState1=HAL_GPIO_ReadPin(ROT_A_1_GPIO_Port, ROT_A_1_Pin);
				affichageChar("BLUE", delai,GAUCHE);
				affichageDig(duty_cycleb, delai,DROITE,100,0);

				if(HAL_GPIO_ReadPin(ROT_A_1_GPIO_Port, ROT_A_1_Pin)!=lastState1)
				{
					if(HAL_GPIO_ReadPin(ROT_A_1_GPIO_Port, ROT_A_1_Pin)!=HAL_GPIO_ReadPin(ROT_B_1_GPIO_Port, ROT_B_1_Pin))
					{
						etatsw=2;
						while(etatsw==2)
						{
							lastState1=HAL_GPIO_ReadPin(ROT_A_1_GPIO_Port, ROT_A_1_Pin);
							HAL_Delay(1);
							if (duty_cycleb<=0)
								duty_cycleb=0;
							else
							{
								duty_cycleb--;
							}
							__HAL_TIM_SET_COMPARE(&htim3, TIM_CHANNEL_1, duty_cycleb*10);

							if(HAL_GPIO_ReadPin(ROT_A_1_GPIO_Port, ROT_A_1_Pin)==lastState1)
								etatsw=0;
							if(HAL_GPIO_ReadPin(ROT_A_1_GPIO_Port, ROT_A_1_Pin)==HAL_GPIO_ReadPin(ROT_B_1_GPIO_Port, ROT_B_1_Pin))
								etatsw=1;
						}
					}
					else
					{
						etatsw=1;
						while(etatsw==1)
						{
							lastState1=HAL_GPIO_ReadPin(ROT_A_1_GPIO_Port, ROT_A_1_Pin);
							HAL_Delay(1);
							if (duty_cycleb>=100)
								duty_cycleb=100;
							else
							{
								duty_cycleb++;
							}
							__HAL_TIM_SET_COMPARE(&htim3, TIM_CHANNEL_1, duty_cycleb*10);

							if(HAL_GPIO_ReadPin(ROT_A_1_GPIO_Port, ROT_A_1_Pin)==lastState1)
								etatsw=0;
							if(HAL_GPIO_ReadPin(ROT_A_1_GPIO_Port, ROT_A_1_Pin)!=HAL_GPIO_ReadPin(ROT_B_1_GPIO_Port, ROT_B_1_Pin))
								etatsw=2;
						}
					}
				}
				if(SW1==0)
				{
					duty_cycleb=0;
					__HAL_TIM_SET_COMPARE(&htim3, TIM_CHANNEL_1, duty_cycleb*10);
				}
				if(SW2==0)
				{
					initSEG();
					HAL_Delay(200);
					etat=freq;
				}
				break;

			case freq:
				lastState1=HAL_GPIO_ReadPin(ROT_A_1_GPIO_Port, ROT_A_1_Pin);
				lastState=HAL_GPIO_ReadPin(ROT_A_2_GPIO_Port, ROT_A_2_Pin);
				static int u=0;

				affichageDig(frequency,delai,GAUCHE,9901,1);
				affichageDig(duty_cycleb,delai,DROITE,100,0);

				//Rotary Switch Duty Cycle
				if(HAL_GPIO_ReadPin(ROT_A_1_GPIO_Port, ROT_A_1_Pin)!=lastState1)
				{
					if(HAL_GPIO_ReadPin(ROT_A_1_GPIO_Port, ROT_A_1_Pin)!=HAL_GPIO_ReadPin(ROT_B_1_GPIO_Port, ROT_B_1_Pin))
					{
						etatsw=2;
						while(etatsw==2)
						{
							lastState1=HAL_GPIO_ReadPin(ROT_A_1_GPIO_Port, ROT_A_1_Pin);
							HAL_Delay(1);
							if (duty_cycleb<=0)
								duty_cycleb=0;
							else
							{
								duty_cycleb--;
							}
							compare=duty_cycleb*autoreload/100;
							__HAL_TIM_SET_COMPARE(&htim2, TIM_CHANNEL_2, compare);
							if(HAL_GPIO_ReadPin(ROT_A_1_GPIO_Port, ROT_A_1_Pin)==lastState1)
								etatsw=0;
							if(HAL_GPIO_ReadPin(ROT_A_1_GPIO_Port, ROT_A_1_Pin)==HAL_GPIO_ReadPin(ROT_B_1_GPIO_Port, ROT_B_1_Pin))
								etatsw=1;
						}
					}
					else
					{
						etatsw=1;
						while(etatsw==1)
						{
							lastState1=HAL_GPIO_ReadPin(ROT_A_1_GPIO_Port, ROT_A_1_Pin);
							HAL_Delay(1);
							if (duty_cycleb>=100)
								duty_cycleb=100;
							else
							{
								duty_cycleb++;
							}
							compare=duty_cycleb*autoreload/100;
							__HAL_TIM_SET_COMPARE(&htim2, TIM_CHANNEL_2, compare);

							if(HAL_GPIO_ReadPin(ROT_A_1_GPIO_Port, ROT_A_1_Pin)==lastState1)
								etatsw=0;
							if(HAL_GPIO_ReadPin(ROT_A_1_GPIO_Port, ROT_A_1_Pin)!=HAL_GPIO_ReadPin(ROT_B_1_GPIO_Port, ROT_B_1_Pin))
								etatsw=2;
						}
					}
				}
				//Rotary Switch for frequency
				if(HAL_GPIO_ReadPin(ROT_A_2_GPIO_Port, ROT_A_2_Pin)!=lastState)
								{
									if(HAL_GPIO_ReadPin(ROT_A_2_GPIO_Port, ROT_A_2_Pin)!=HAL_GPIO_ReadPin(ROT_B_2_GPIO_Port, ROT_B_2_Pin))
									{
										etatsw2=2;
										while(etatsw2==2)
										{
											lastState=HAL_GPIO_ReadPin(ROT_A_2_GPIO_Port, ROT_A_2_Pin);
											HAL_Delay(1);
											if (frequency<=1)
												frequency=1;
											if(frequency>200)
												frequency-=100;
											else
												frequency-=10;

											autoreload=40000000/((TIM2->PSC)*(frequency));
											compare=duty_cycleb*autoreload/100;
											__HAL_TIM_SET_AUTORELOAD(&htim2,autoreload);
											__HAL_TIM_SET_COMPARE(&htim2, TIM_CHANNEL_2, compare);
											if(HAL_GPIO_ReadPin(ROT_A_2_GPIO_Port, ROT_A_2_Pin)==lastState)
												etatsw2=0;
											if(HAL_GPIO_ReadPin(ROT_A_2_GPIO_Port, ROT_A_2_Pin)==HAL_GPIO_ReadPin(ROT_B_2_GPIO_Port, ROT_B_2_Pin))
												etatsw2=1;
										}
									}
									else
									{
										etatsw2=1;
										while(etatsw2==1)
										{
											lastState=HAL_GPIO_ReadPin(ROT_A_2_GPIO_Port, ROT_A_2_Pin);
											HAL_Delay(1);
											if (frequency>9801)
												frequency=9901;
											else if(frequency>200)
												frequency+=100;
											else
												frequency+=10;

											autoreload=40000000/((TIM2->PSC)*(frequency));
											compare=duty_cycleb*autoreload/100;
											__HAL_TIM_SET_AUTORELOAD(&htim2,autoreload);
											__HAL_TIM_SET_COMPARE(&htim2, TIM_CHANNEL_2, compare);

											if(HAL_GPIO_ReadPin(ROT_A_2_GPIO_Port, ROT_A_2_Pin)==lastState)
												etatsw2=0;
											if(HAL_GPIO_ReadPin(ROT_A_2_GPIO_Port, ROT_A_2_Pin)!=HAL_GPIO_ReadPin(ROT_B_2_GPIO_Port, ROT_B_2_Pin))
												etatsw2=2;
										}
									}
								}
				if(SW1==0)
				{
					frequency=101;
					autoreload=40000000/((TIM2->PSC)*(frequency));
					__HAL_TIM_SET_AUTORELOAD(&htim2,autoreload);
					duty_cycleb=20;
					compare=duty_cycleb*autoreload/100;
					__HAL_TIM_SET_COMPARE(&htim2, TIM_CHANNEL_2, compare);
				}
				if(SW2==0)
				{
					initSEG();
					HAL_Delay(200);
					etat=tachefond;
				}
				__HAL_TIM_SET_AUTORELOAD(&htim2,autoreload);
				__HAL_TIM_SET_COMPARE(&htim2, TIM_CHANNEL_2, compare);

				u++;
					HAL_GPIO_WritePin(PC3_GPIO_Port,PC3_Pin , GPIO_PIN_SET);
					HAL_Delay(0.01*u);
					HAL_GPIO_WritePin(PC3_GPIO_Port,PC3_Pin , GPIO_PIN_RESET);
				if(u>100000)
				{
					u=0;
				}
		}

		}
  /* USER CODE END 3 */
}

void SystemClock_Config(void)
{
  RCC_OscInitTypeDef RCC_OscInitStruct = {0};
  RCC_ClkInitTypeDef RCC_ClkInitStruct = {0};
  RCC_PeriphCLKInitTypeDef PeriphClkInit = {0};

  /** Initializes the RCC Oscillators according to the specified parameters
  * in the RCC_OscInitTypeDef structure.
  */
  RCC_OscInitStruct.OscillatorType = RCC_OSCILLATORTYPE_HSI;
  RCC_OscInitStruct.HSIState = RCC_HSI_ON;
  RCC_OscInitStruct.HSICalibrationValue = RCC_HSICALIBRATION_DEFAULT;
  RCC_OscInitStruct.PLL.PLLState = RCC_PLL_ON;
  RCC_OscInitStruct.PLL.PLLSource = RCC_PLLSOURCE_HSI_DIV2;
  RCC_OscInitStruct.PLL.PLLMUL = RCC_PLL_MUL10;
  if (HAL_RCC_OscConfig(&RCC_OscInitStruct) != HAL_OK)
  {
    Error_Handler();
  }
  /** Initializes the CPU, AHB and APB buses clocks
  */
  RCC_ClkInitStruct.ClockType = RCC_CLOCKTYPE_HCLK|RCC_CLOCKTYPE_SYSCLK
                              |RCC_CLOCKTYPE_PCLK1|RCC_CLOCKTYPE_PCLK2;
  RCC_ClkInitStruct.SYSCLKSource = RCC_SYSCLKSOURCE_PLLCLK;
  RCC_ClkInitStruct.AHBCLKDivider = RCC_SYSCLK_DIV1;
  RCC_ClkInitStruct.APB1CLKDivider = RCC_HCLK_DIV2;
  RCC_ClkInitStruct.APB2CLKDivider = RCC_HCLK_DIV1;

  if (HAL_RCC_ClockConfig(&RCC_ClkInitStruct, FLASH_LATENCY_1) != HAL_OK)
  {
    Error_Handler();
  }
  PeriphClkInit.PeriphClockSelection = RCC_PERIPHCLK_ADC;
  PeriphClkInit.AdcClockSelection = RCC_ADCPCLK2_DIV4;
  if (HAL_RCCEx_PeriphCLKConfig(&PeriphClkInit) != HAL_OK)
  {
    Error_Handler();
  }
}

static void MX_ADC1_Init(void)
{

  ADC_ChannelConfTypeDef sConfig = {0};

  /** Common config
  */
  hadc1.Instance = ADC1;
  hadc1.Init.ScanConvMode = ADC_SCAN_DISABLE;
  hadc1.Init.ContinuousConvMode = DISABLE;
  hadc1.Init.DiscontinuousConvMode = DISABLE;
  hadc1.Init.ExternalTrigConv = ADC_SOFTWARE_START;
  hadc1.Init.DataAlign = ADC_DATAALIGN_RIGHT;
  hadc1.Init.NbrOfConversion = 1;
  if (HAL_ADC_Init(&hadc1) != HAL_OK)
  {
    Error_Handler();
  }
  /** Configure Regular Channel
  */
  sConfig.Channel = ADC_CHANNEL_4;
  sConfig.Rank = ADC_REGULAR_RANK_1;
  sConfig.SamplingTime = ADC_SAMPLETIME_1CYCLE_5;
  if (HAL_ADC_ConfigChannel(&hadc1, &sConfig) != HAL_OK)
  {
    Error_Handler();
  }

}

static void MX_TIM2_Init(void)
{

  TIM_ClockConfigTypeDef sClockSourceConfig = {0};
  TIM_MasterConfigTypeDef sMasterConfig = {0};
  TIM_OC_InitTypeDef sConfigOC = {0};

  htim2.Instance = TIM2;
  htim2.Init.Prescaler = 4000;
  htim2.Init.CounterMode = TIM_COUNTERMODE_UP;
  htim2.Init.Period = 1000;
  htim2.Init.ClockDivision = TIM_CLOCKDIVISION_DIV1;
  htim2.Init.AutoReloadPreload = TIM_AUTORELOAD_PRELOAD_DISABLE;
  if (HAL_TIM_Base_Init(&htim2) != HAL_OK)
  {
    Error_Handler();
  }
  sClockSourceConfig.ClockSource = TIM_CLOCKSOURCE_INTERNAL;
  if (HAL_TIM_ConfigClockSource(&htim2, &sClockSourceConfig) != HAL_OK)
  {
    Error_Handler();
  }
  if (HAL_TIM_PWM_Init(&htim2) != HAL_OK)
  {
    Error_Handler();
  }
  sMasterConfig.MasterOutputTrigger = TIM_TRGO_RESET;
  sMasterConfig.MasterSlaveMode = TIM_MASTERSLAVEMODE_DISABLE;
  if (HAL_TIMEx_MasterConfigSynchronization(&htim2, &sMasterConfig) != HAL_OK)
  {
    Error_Handler();
  }
  sConfigOC.OCMode = TIM_OCMODE_PWM1;
  sConfigOC.Pulse = 20;
  sConfigOC.OCPolarity = TIM_OCPOLARITY_HIGH;
  sConfigOC.OCFastMode = TIM_OCFAST_DISABLE;
  if (HAL_TIM_PWM_ConfigChannel(&htim2, &sConfigOC, TIM_CHANNEL_2) != HAL_OK)
  {
    Error_Handler();
  }
  sConfigOC.Pulse = 0;
  if (HAL_TIM_PWM_ConfigChannel(&htim2, &sConfigOC, TIM_CHANNEL_3) != HAL_OK)
  {
    Error_Handler();
  }
  if (HAL_TIM_PWM_ConfigChannel(&htim2, &sConfigOC, TIM_CHANNEL_4) != HAL_OK)
  {
    Error_Handler();
  }
  HAL_TIM_MspPostInit(&htim2);

}

static void MX_TIM3_Init(void)
{

  TIM_ClockConfigTypeDef sClockSourceConfig = {0};
  TIM_MasterConfigTypeDef sMasterConfig = {0};
  TIM_OC_InitTypeDef sConfigOC = {0};

  htim3.Instance = TIM3;
  htim3.Init.Prescaler = 4;
  htim3.Init.CounterMode = TIM_COUNTERMODE_UP;
  htim3.Init.Period = 1000;
  htim3.Init.ClockDivision = TIM_CLOCKDIVISION_DIV1;
  htim3.Init.AutoReloadPreload = TIM_AUTORELOAD_PRELOAD_DISABLE;
  if (HAL_TIM_Base_Init(&htim3) != HAL_OK)
  {
    Error_Handler();
  }
  sClockSourceConfig.ClockSource = TIM_CLOCKSOURCE_INTERNAL;
  if (HAL_TIM_ConfigClockSource(&htim3, &sClockSourceConfig) != HAL_OK)
  {
    Error_Handler();
  }
  if (HAL_TIM_PWM_Init(&htim3) != HAL_OK)
  {
    Error_Handler();
  }
  sMasterConfig.MasterOutputTrigger = TIM_TRGO_RESET;
  sMasterConfig.MasterSlaveMode = TIM_MASTERSLAVEMODE_DISABLE;
  if (HAL_TIMEx_MasterConfigSynchronization(&htim3, &sMasterConfig) != HAL_OK)
  {
    Error_Handler();
  }
  sConfigOC.OCMode = TIM_OCMODE_PWM1;
  sConfigOC.Pulse = 20;
  sConfigOC.OCPolarity = TIM_OCPOLARITY_HIGH;
  sConfigOC.OCFastMode = TIM_OCFAST_DISABLE;
  if (HAL_TIM_PWM_ConfigChannel(&htim3, &sConfigOC, TIM_CHANNEL_1) != HAL_OK)
  {
    Error_Handler();
  }
  if (HAL_TIM_PWM_ConfigChannel(&htim3, &sConfigOC, TIM_CHANNEL_2) != HAL_OK)
  {
    Error_Handler();
  }
  if (HAL_TIM_PWM_ConfigChannel(&htim3, &sConfigOC, TIM_CHANNEL_3) != HAL_OK)
  {
    Error_Handler();
  }
  HAL_TIM_MspPostInit(&htim3);

}

static void MX_GPIO_Init(void)
{
  GPIO_InitTypeDef GPIO_InitStruct = {0};

  /* GPIO Ports Clock Enable */
  __HAL_RCC_GPIOC_CLK_ENABLE();
  __HAL_RCC_GPIOD_CLK_ENABLE();
  __HAL_RCC_GPIOA_CLK_ENABLE();
  __HAL_RCC_GPIOB_CLK_ENABLE();

  /*Configure GPIO pin Output Level */
  HAL_GPIO_WritePin(GPIOC, PC3_Pin|PC4_Pin|PC5_Pin|SEG_B_Pin
                          |SEG_C_Pin|SEG_D_Pin, GPIO_PIN_SET);

  /*Configure GPIO pin Output Level */
  HAL_GPIO_WritePin(GPIOB, DIGIT8_Pin|DIGIT7_Pin|DIGIT6_Pin|DIGIT5_Pin
                          |SEG_F_Pin|SEG_G_Pin|SEG_DP_Pin|DIGIT4_Pin
                          |DIGIT3_Pin|DIGIT2_Pin|DIGIT1_Pin, GPIO_PIN_SET);

  /*Configure GPIO pin Output Level */
  HAL_GPIO_WritePin(SEG_A_GPIO_Port, SEG_A_Pin, GPIO_PIN_SET);

  /*Configure GPIO pin Output Level */
  HAL_GPIO_WritePin(SEG_E_GPIO_Port, SEG_E_Pin, GPIO_PIN_SET);

  /*Configure GPIO pins : ROT_A_2_Pin ROT_B_2_Pin ROT_SW_2_Pin */
  GPIO_InitStruct.Pin = ROT_A_2_Pin|ROT_B_2_Pin|ROT_SW_2_Pin;
  GPIO_InitStruct.Mode = GPIO_MODE_INPUT;
  GPIO_InitStruct.Pull = GPIO_PULLUP;
  HAL_GPIO_Init(GPIOC, &GPIO_InitStruct);

  /*Configure GPIO pins : PC3_Pin PC4_Pin PC5_Pin SEG_B_Pin
                           SEG_C_Pin SEG_D_Pin */
  GPIO_InitStruct.Pin = PC3_Pin|PC4_Pin|PC5_Pin|SEG_B_Pin
                          |SEG_C_Pin|SEG_D_Pin;
  GPIO_InitStruct.Mode = GPIO_MODE_OUTPUT_PP;
  GPIO_InitStruct.Pull = GPIO_NOPULL;
  GPIO_InitStruct.Speed = GPIO_SPEED_FREQ_LOW;
  HAL_GPIO_Init(GPIOC, &GPIO_InitStruct);

  /*Configure GPIO pins : ROT_SW_1_Pin ROT_B_1_Pin ROT_A_1_Pin */
  GPIO_InitStruct.Pin = ROT_SW_1_Pin|ROT_B_1_Pin|ROT_A_1_Pin;
  GPIO_InitStruct.Mode = GPIO_MODE_INPUT;
  GPIO_InitStruct.Pull = GPIO_PULLUP;
  HAL_GPIO_Init(GPIOB, &GPIO_InitStruct);

  /*Configure GPIO pins : DIGIT8_Pin DIGIT7_Pin DIGIT6_Pin DIGIT5_Pin
                           DIGIT4_Pin DIGIT3_Pin DIGIT2_Pin DIGIT1_Pin */
  GPIO_InitStruct.Pin = DIGIT8_Pin|DIGIT7_Pin|DIGIT6_Pin|DIGIT5_Pin
                          |DIGIT4_Pin|DIGIT3_Pin|DIGIT2_Pin|DIGIT1_Pin;
  GPIO_InitStruct.Mode = GPIO_MODE_OUTPUT_PP;
  GPIO_InitStruct.Pull = GPIO_PULLDOWN;
  GPIO_InitStruct.Speed = GPIO_SPEED_FREQ_LOW;
  HAL_GPIO_Init(GPIOB, &GPIO_InitStruct);

  /*Configure GPIO pin : SEG_A_Pin */
  GPIO_InitStruct.Pin = SEG_A_Pin;
  GPIO_InitStruct.Mode = GPIO_MODE_OUTPUT_PP;
  GPIO_InitStruct.Pull = GPIO_NOPULL;
  GPIO_InitStruct.Speed = GPIO_SPEED_FREQ_LOW;
  HAL_GPIO_Init(SEG_A_GPIO_Port, &GPIO_InitStruct);

  /*Configure GPIO pin : SEG_E_Pin */
  GPIO_InitStruct.Pin = SEG_E_Pin;
  GPIO_InitStruct.Mode = GPIO_MODE_OUTPUT_PP;
  GPIO_InitStruct.Pull = GPIO_NOPULL;
  GPIO_InitStruct.Speed = GPIO_SPEED_FREQ_LOW;
  HAL_GPIO_Init(SEG_E_GPIO_Port, &GPIO_InitStruct);

  /*Configure GPIO pins : SEG_F_Pin SEG_G_Pin SEG_DP_Pin */
  GPIO_InitStruct.Pin = SEG_F_Pin|SEG_G_Pin|SEG_DP_Pin;
  GPIO_InitStruct.Mode = GPIO_MODE_OUTPUT_PP;
  GPIO_InitStruct.Pull = GPIO_NOPULL;
  GPIO_InitStruct.Speed = GPIO_SPEED_FREQ_LOW;
  HAL_GPIO_Init(GPIOB, &GPIO_InitStruct);

}

void Error_Handler(void)
{
	__disable_irq();
	while (1)
	{
	}
}

/************************ (C) COPYRIGHT STMicroelectronics *****END OF FILE****/
